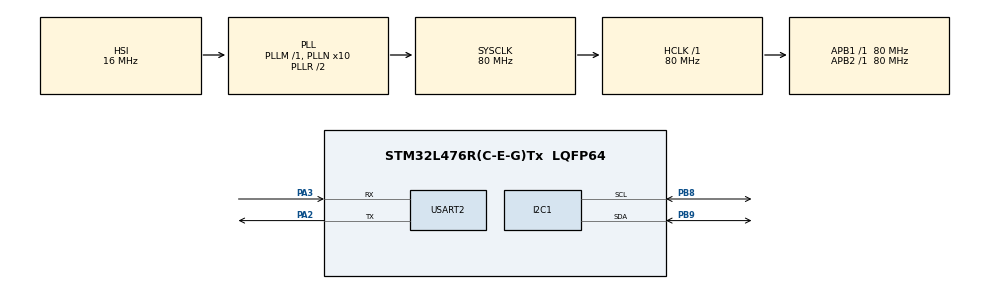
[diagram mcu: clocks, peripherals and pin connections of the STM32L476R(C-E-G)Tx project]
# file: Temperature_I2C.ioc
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I2C1.Timing=0x10D19CE4
Mcu.Family=STM32L4
Mcu.Name=STM32L476R(C-E-G)Tx
Mcu.Package=LQFP64
NVIC.PriorityGroup=NVIC_PRIORITYGROUP_4
PA2.Mode=Asynchronous
PA2.Signal=USART2_TX
PA3.Mode=Asynchronous
PA3.Signal=USART2_RX
PB8.Mode=I2C
PB8.Signal=I2C1_SCL
PB9.Mode=I2C
PB9.Signal=I2C1_SDA
PH0-OSC_IN\ (PH0).Mode=HSE-External-Oscillator
PH0-OSC_IN\ (PH0).Signal=RCC_OSC_IN
PH1-OSC_OUT\ (PH1).Mode=HSE-External-Oscillator
PH1-OSC_OUT\ (PH1).Signal=RCC_OSC_OUT
ProjectManager.HeapSize=0x200
ProjectManager.StackSize=0x400
ProjectManager.TargetToolchain=STM32CubeIDE
RCC.ADCFreq_Value=64000000
RCC.AHBFreq_Value=80000000
RCC.APB1Freq_Value=80000000
RCC.APB1TimFreq_Value=80000000
RCC.APB2Freq_Value=80000000
RCC.APB2TimFreq_Value=80000000
RCC.CortexFreq_Value=80000000
RCC.HCLKFreq_Value=80000000
RCC.HSE_VALUE=8000000
RCC.HSI_VALUE=16000000
RCC.MSI_VALUE=4000000
RCC.PLLN=10
RCC.PLLSourceVirtual=RCC_PLLSOURCE_HSI
RCC.PREFETCH_ENABLE=1
RCC.SYSCLKFreq_VALUE=80000000
RCC.SYSCLKSource=RCC_SYSCLKSOURCE_PLLCLK
RCC.USBFreq_Value=64000000
RCC.VCOOutputFreq_Value=160000000
USART2.VirtualMode-Asynchronous=VM_ASYNC
board=NUCLEO-L476RG

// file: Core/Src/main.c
/* USER CODE BEGIN Header */
/**
  ******************************************************************************
  * @file           : main.c
  * @brief          : Main program body for SHT31 to UART Reading (Fully Validated)
  ******************************************************************************
  */
/* USER CODE END Header */
#include "main.h"

/* USER CODE BEGIN Includes */
#include <stdio.h> // Required for sprintf to format the text
/* USER CODE END Includes */

/* USER CODE BEGIN PD */
#define SHT31_I2C_ADDR         (0x44 << 1) // I2C address 0x88
#define SHT31_MEAS_HIGH_REP    0x2C06      // Measurement command
/* USER CODE END PD */

I2C_HandleTypeDef hi2c1;
UART_HandleTypeDef huart2;

void SystemClock_Config(void);
static void MX_GPIO_Init(void);
static void MX_I2C1_Init(void);
static void MX_USART2_UART_Init(void);

int main(void)
{
  /* USER CODE BEGIN 1 */
  uint8_t cmd[2];
  uint8_t rx_data[6];
  float temperature = 0.0f;
  float humidity = 0.0f;
  char uart_buf[100];
  int msg_len;
  /* USER CODE END 1 */

  /* MCU Configuration--------------------------------------------------------*/
  HAL_Init();
  SystemClock_Config();
  MX_GPIO_Init();
  MX_I2C1_Init();
  MX_USART2_UART_Init(); // Initializes the virtual COM port link to your PC

  /* USER CODE BEGIN 2 */
  // Split the 16-bit command into two 8-bit bytes for transmission
  cmd[0] = (SHT31_MEAS_HIGH_REP >> 8) & 0xFF;
  cmd[1] = SHT31_MEAS_HIGH_REP & 0xFF;

  // Print a startup message to the console to confirm UART is working
  msg_len = sprintf(uart_buf, "--- SHT31 Temperature & Humidity Sensor System Started ---\r\n");
  HAL_UART_Transmit(&huart2, (uint8_t*)uart_buf, msg_len, HAL_MAX_DELAY);
  /* USER CODE END 2 */

  /* Infinite loop */
  /* USER CODE BEGIN WHILE */
  while (1)
  {
    // 1. Transmit measurement command to the SHT31 via I2C
    if (HAL_I2C_Master_Transmit(&hi2c1, SHT31_I2C_ADDR, cmd, 2, HAL_MAX_DELAY) == HAL_OK)
    {
        // 2. Wait for internal ADC conversion inside the sensor
        HAL_Delay(20);

        // 3. Read back 6 bytes of raw environmental data
        if (HAL_I2C_Master_Receive(&hi2c1, SHT31_I2C_ADDR, rx_data, 6, HAL_MAX_DELAY) == HAL_OK)
        {
            // 4. Extract raw bits and compute physical temperature
            uint16_t raw_temp = (rx_data[0] << 8) | rx_data[1];
            temperature = -45.0f + 175.0f * ((float)raw_temp / 65535.0f);

            // 5. Extract raw bits and compute physical relative humidity
            uint16_t raw_hum = (rx_data[3] << 8) | rx_data[4];
            humidity = 100.0f * ((float)raw_hum / 65535.0f);

            // 6. Format data into a readable string frame
            msg_len = sprintf(uart_buf, "Temp: %.2f °C | Humidity: %.2f %%\r\n", temperature, humidity);

            // 7. Transmit text string over the virtual USB serial port (USART2)
            HAL_UART_Transmit(&huart2, (uint8_t*)uart_buf, msg_len, HAL_MAX_DELAY);
        }
        else
        {
            // Error handling if sensor doesn't respond during read phase
            msg_len = sprintf(uart_buf, "Error: Failed to receive data from sensor.\r\n");
            HAL_UART_Transmit(&huart2, (uint8_t*)uart_buf, msg_len, HAL_MAX_DELAY);
        }
    }
    else
    {
        // Error handling if sensor doesn't acknowledge the initial request
        msg_len = sprintf(uart_buf, "Error: Failed to transmit command to sensor.\r\n");
        HAL_UART_Transmit(&huart2, (uint8_t*)uart_buf, msg_len, HAL_MAX_DELAY);
    }

    // Delay execution for 2 seconds before taking the next reading
    HAL_Delay(2000);
    /* USER CODE END WHILE */

  }
}

void SystemClock_Config(void)
{
  RCC_OscInitTypeDef RCC_OscInitStruct = {0};
  RCC_ClkInitTypeDef RCC_ClkInitStruct = {0};

  // FIXED: Corrected spelling to VOLTAGE instead of VOLVESTATE
  if (HAL_PWREx_ControlVoltageScaling(PWR_REGULATOR_VOLTAGE_SCALE1) != HAL_OK)
  {
    Error_Handler();
  }

  RCC_OscInitStruct.OscillatorType = RCC_OSCILLATORTYPE_HSI;
  RCC_OscInitStruct.HSIState = RCC_HSI_ON;
  RCC_OscInitStruct.HSICalibrationValue = RCC_HSICALIBRATION_DEFAULT;
  RCC_OscInitStruct.PLL.PLLState = RCC_PLL_ON;
  RCC_OscInitStruct.PLL.PLLSource = RCC_PLLSOURCE_HSI;
  RCC_OscInitStruct.PLL.PLLM = 1;
  RCC_OscInitStruct.PLL.PLLN = 10;
  RCC_OscInitStruct.PLL.PLLP = RCC_PLLP_DIV7;
  RCC_OscInitStruct.PLL.PLLQ = RCC_PLLQ_DIV2;
  RCC_OscInitStruct.PLL.PLLR = RCC_PLLR_DIV2;
  if (HAL_RCC_OscConfig(&RCC_OscInitStruct) != HAL_OK)
  {
    Error_Handler();
  }

  RCC_ClkInitStruct.ClockType = RCC_CLOCKTYPE_HCLK|RCC_CLOCKTYPE_SYSCLK
                              |RCC_CLOCKTYPE_PCLK1|RCC_CLOCKTYPE_PCLK2;
  RCC_ClkInitStruct.SYSCLKSource = RCC_SYSCLKSOURCE_PLLCLK;
  RCC_ClkInitStruct.AHBCLKDivider = RCC_SYSCLK_DIV1;
  RCC_ClkInitStruct.APB1CLKDivider = RCC_HCLK_DIV1;
  RCC_ClkInitStruct.APB2CLKDivider = RCC_HCLK_DIV1;

  if (HAL_RCC_ClockConfig(&RCC_ClkInitStruct, FLASH_LATENCY_4) != HAL_OK)
  {
    Error_Handler();
  }
}

static void MX_I2C1_Init(void)
{
  hi2c1.Instance = I2C1;
  hi2c1.Init.Timing = 0x10D19CE4;
  hi2c1.Init.OwnAddress1 = 0;
  hi2c1.Init.AddressingMode = I2C_ADDRESSINGMODE_7BIT;
  hi2c1.Init.DualAddressMode = I2C_DUALADDRESS_DISABLE;
  hi2c1.Init.OwnAddress2 = 0;
  hi2c1.Init.OwnAddress2Masks = I2C_OA2_NOMASK;
  hi2c1.Init.GeneralCallMode = I2C_GENERALCALL_DISABLE;
  hi2c1.Init.NoStretchMode = I2C_NOSTRETCH_DISABLE;
  if (HAL_I2C_Init(&hi2c1) != HAL_OK)
  {
    Error_Handler();
  }

  if (HAL_I2CEx_ConfigAnalogFilter(&hi2c1, I2C_ANALOGFILTER_ENABLE) != HAL_OK)
  {
    Error_Handler();
  }

  if (HAL_I2CEx_ConfigDigitalFilter(&hi2c1, 0) != HAL_OK)
  {
    Error_Handler();
  }
}

static void MX_USART2_UART_Init(void)
{
  huart2.Instance = USART2;
  huart2.Init.BaudRate = 115200;
  huart2.Init.WordLength = UART_WORDLENGTH_8B;
  huart2.Init.StopBits = UART_STOPBITS_1;
  huart2.Init.Parity = UART_PARITY_NONE;
  huart2.Init.Mode = UART_MODE_TX_RX;
  huart2.Init.HwFlowCtl = UART_HWCONTROL_NONE;
  huart2.Init.OverSampling = UART_OVERSAMPLING_16;
  huart2.Init.OneBitSampling = UART_ONE_BIT_SAMPLE_DISABLE;
  huart2.AdvancedInit.AdvFeatureInit = UART_ADVFEATURE_NO_INIT;
  if (HAL_UART_Init(&huart2) != HAL_OK)
  {
    Error_Handler();
  }
}

static void MX_GPIO_Init(void)
{
  /* GPIO Ports Clock Enable */
  __HAL_RCC_GPIOH_CLK_ENABLE();
  __HAL_RCC_GPIOA_CLK_ENABLE(); // Enabled for USART2 Pins (PA2/PA3)
  __HAL_RCC_GPIOB_CLK_ENABLE(); // Enabled for I2C1 Pins (PB8/PB9)
}

void Error_Handler(void)
{
  __disable_irq();
  while (1)
  {
  }
}
